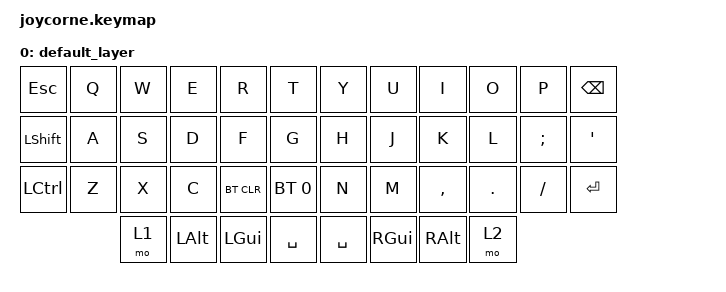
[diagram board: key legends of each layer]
#include <behaviors.dtsi>
#include <dt-bindings/zmk/keys.h>
#include <dt-bindings/zmk/bt.h>

/ {
        keymap {
                compatible = "zmk,keymap";

                default_layer {

                        bindings = <
   &kp ESC   &kp Q &kp W &kp E    &kp R      &kp T          &kp Y     &kp U    &kp I     &kp O   &kp P    &kp BSPC
   &kp LSHFT &kp A &kp S &kp D    &kp F      &kp G          &kp H     &kp J    &kp K     &kp L   &kp SEMI &kp SQT
   &kp LCTRL &kp Z &kp X &kp C    &bt BT_CLR &bt BT_SEL 0   &kp N     &kp M    &kp COMMA &kp DOT &kp FSLH &kp RET
                   &mo 1 &kp LALT &kp LGUI &kp SPACE        &kp SPACE &kp RGUI &kp RALT  &mo 2
                        >;
                };
        };
};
